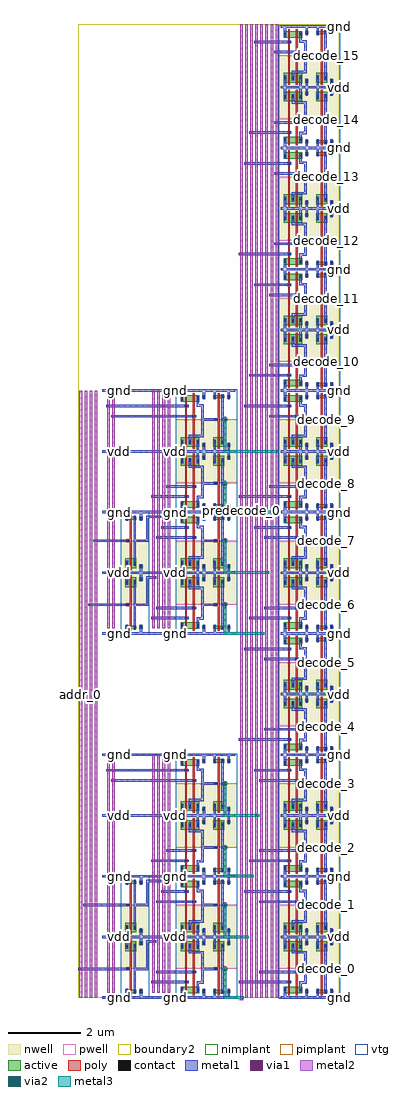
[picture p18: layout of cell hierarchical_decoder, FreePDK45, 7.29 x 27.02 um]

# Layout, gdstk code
import gdstk
lib = gdstk.Library(unit=1e-6, precision=5e-10)
def R(c, l, rs):  # rectangles x0, y0, x1, y1
    for r in rs: c.add(gdstk.rectangle(r[:2], r[2:], *l))
def A(c, l, x, y, w, h, nx, ny, dx, dy):  # array of equal rectangles
    R(c, l, [(x+i*dx, y+j*dy, x+i*dx+w, y+j*dy+h) for i in range(nx) for j in range(ny)])
active = (1, 0)
pwell = (2, 0)
nwell = (3, 0)
nimplant = (4, 0)
pimplant = (5, 0)
vtg = (6, 0)
poly = (9, 0)
contact = (10, 0)
metal1 = (11, 0)
via1 = (12, 0)
metal2 = (13, 0)
via2 = (14, 0)
metal3 = (15, 0)
boundary2 = (239, 0)

contact_10 = lib.new_cell('contact_10')
R(contact_10, active, [(0,0.0225,0.09,0.1125)])
R(contact_10, nwell, [(-0.055,-0.0325,0.145,0.1675)])
R(contact_10, pimplant, [(0,0.0225,0.09,0.1125)])
R(contact_10, contact, [(0.0125,0.035,0.0775,0.1)])
R(contact_10, metal1, [(0.0125,0,0.0775,0.135)])
R(contact_10, boundary2, [(-0.055,-0.0325,0.145,0.1675)])

pmos_m1_w0_270_sm1_dm1_d = lib.new_cell('pmos_m1_w0_270_sm1_dm1_da_p')
R(pmos_m1_w0_270_sm1_dm1_d, active, [(0,0,0.305,0.27)])
R(pmos_m1_w0_270_sm1_dm1_d, nwell, [(-0.08,-0.08,0.385,0.35)])
R(pmos_m1_w0_270_sm1_dm1_d, pimplant, [(0,0,0.305,0.27)])
R(pmos_m1_w0_270_sm1_dm1_d, vtg, [(-0.08,-0.08,0.385,0.35)])
R(pmos_m1_w0_270_sm1_dm1_d, poly, [(0.1275,-0.055,0.1775,0.325), (0.1275,-0.055,0.1775,0.325)])
R(pmos_m1_w0_270_sm1_dm1_d, metal1, [(0.0125,0.0675,0.0775,0.2025), (0.2275,0.0675,0.2925,0.2025)])
R(pmos_m1_w0_270_sm1_dm1_d, boundary2, [(-0.08,-0.08,0.385,0.35)])
pmos_m1_w0_270_sm1_dm1_d.add(gdstk.Reference(contact_10, (0,0.0675)))
pmos_m1_w0_270_sm1_dm1_d.add(gdstk.Reference(contact_10, (0.215,0.0675)))
pmos_m1_w0_270_sm1_dm1_d.add(gdstk.Label('G', (0.1525,0.135), layer=9, texttype=0))
pmos_m1_w0_270_sm1_dm1_d.add(gdstk.Label('S', (0.045,0.135), layer=11, texttype=0))
pmos_m1_w0_270_sm1_dm1_d.add(gdstk.Label('D', (0.26,0.135), layer=11, texttype=0))

contact_9 = lib.new_cell('contact_9')
R(contact_9, active, [(0,0.0225,0.09,0.1125)])
R(contact_9, pwell, [(-0.055,-0.0325,0.145,0.1675)])
R(contact_9, nimplant, [(0,0.0225,0.09,0.1125)])
R(contact_9, contact, [(0.0125,0.035,0.0775,0.1)])
R(contact_9, metal1, [(0.0125,0,0.0775,0.135)])
R(contact_9, boundary2, [(-0.055,-0.0325,0.145,0.1675)])

nmos_m1_w0_090_sm1_dm1_d = lib.new_cell('nmos_m1_w0_090_sm1_dm1_da_p')
R(nmos_m1_w0_090_sm1_dm1_d, active, [(0,0,0.305,0.09)])
R(nmos_m1_w0_090_sm1_dm1_d, pwell, [(-0.08,-0.08,0.385,0.17)])
R(nmos_m1_w0_090_sm1_dm1_d, nimplant, [(0,0,0.305,0.09)])
R(nmos_m1_w0_090_sm1_dm1_d, vtg, [(-0.08,-0.08,0.385,0.17)])
R(nmos_m1_w0_090_sm1_dm1_d, poly, [(0.1275,-0.055,0.1775,0.145), (0.1275,-0.055,0.1775,0.145)])
R(nmos_m1_w0_090_sm1_dm1_d, metal1, [(0.0125,-0.0225,0.0775,0.1125), (0.2275,-0.0225,0.2925,0.1125)])
R(nmos_m1_w0_090_sm1_dm1_d, boundary2, [(-0.08,-0.08,0.385,0.17)])
nmos_m1_w0_090_sm1_dm1_d.add(gdstk.Reference(contact_9, (0,-0.0225)))
nmos_m1_w0_090_sm1_dm1_d.add(gdstk.Reference(contact_9, (0.215,-0.0225)))
nmos_m1_w0_090_sm1_dm1_d.add(gdstk.Label('G', (0.1525,0.045), layer=9, texttype=0))
nmos_m1_w0_090_sm1_dm1_d.add(gdstk.Label('S', (0.045,0.045), layer=11, texttype=0))
nmos_m1_w0_090_sm1_dm1_d.add(gdstk.Label('D', (0.26,0.045), layer=11, texttype=0))

contact_11 = lib.new_cell('contact_11')
R(contact_11, active, [(0,0.0225,0.09,0.1125)])
R(contact_11, nwell, [(-0.055,-0.0325,0.145,0.1675)])
R(contact_11, nimplant, [(0,0.0225,0.09,0.1125)])
R(contact_11, contact, [(0.0125,0.035,0.0775,0.1)])
R(contact_11, metal1, [(0.0125,0,0.0775,0.135)])
R(contact_11, boundary2, [(-0.055,-0.0325,0.145,0.1675)])

contact_12 = lib.new_cell('contact_12')
R(contact_12, active, [(0,0.0225,0.09,0.1125)])
R(contact_12, pwell, [(-0.055,-0.0325,0.145,0.1675)])
R(contact_12, pimplant, [(0,0.0225,0.09,0.1125)])
R(contact_12, contact, [(0.0125,0.035,0.0775,0.1)])
R(contact_12, metal1, [(0.0125,0,0.0775,0.135)])
R(contact_12, boundary2, [(-0.055,-0.0325,0.145,0.1675)])

contact_13 = lib.new_cell('contact_13')
R(contact_13, poly, [(0.03,0,0.105,0.075)])
R(contact_13, contact, [(0.035,0.005,0.1,0.07)])
R(contact_13, metal1, [(0,0.005,0.135,0.07)])
R(contact_13, boundary2, [(0,0,0.135,0.075)])

pinv = lib.new_cell('pinv')
R(pinv, pwell, [(-0.055,-0.0325,0.7425,0.8075)])
R(pinv, nwell, [(-0.055,0.8075,0.7425,1.715)])
R(pinv, vtg, [(-0.055,-0.0325,0.7425,0.8075), (-0.055,0.8075,0.7425,1.715)])
R(pinv, poly, [(0.2075,0.27,0.2575,1.23), (0.14,0.7575,0.2075,0.8325)])
R(pinv, metal1, [(0,-0.0325,0.6875,0.0325), (0.0925,-0.0325,0.1575,0.1025), (0.4775,0,0.5425,0.17), (0.3075,0.1025,0.3725,1.4875), (0.0725,0.7625,0.2075,0.8275), (0.34,0.7625,0.405,0.8275), (0.0925,1.3525,0.1575,1.7125), (0.4775,1.51,0.5425,1.68), (0,1.6475,0.6875,1.7125)])
R(pinv, boundary2, [(0,0,0.6875,1.68), (0,0,0.6875,1.68)])
pinv.add(gdstk.Reference(pmos_m1_w0_270_sm1_dm1_d, (0.08,1.285)))
pinv.add(gdstk.Reference(nmos_m1_w0_090_sm1_dm1_d, (0.08,0.125)))
pinv.add(gdstk.Reference(contact_11, (0.465,1.4425)))
pinv.add(gdstk.Reference(contact_12, (0.465,0.1025)))
pinv.add(gdstk.Reference(contact_13, (0.0725,0.7575)))
pinv.add(gdstk.Label('A', (0.14,0.795), layer=11, texttype=0))
pinv.add(gdstk.Label('Z', (0.3725,0.795), layer=11, texttype=0))
pinv.add(gdstk.Label('gnd', (0.344,0), layer=11, texttype=0))
pinv.add(gdstk.Label('vdd', (0.344,1.68), layer=11, texttype=0))

pmos_m1_w0_270_sm1_dm1 = lib.new_cell('pmos_m1_w0_270_sm1_dm1')
R(pmos_m1_w0_270_sm1_dm1, active, [(0,0,0.305,0.27)])
R(pmos_m1_w0_270_sm1_dm1, nwell, [(-0.08,-0.08,0.385,0.35)])
R(pmos_m1_w0_270_sm1_dm1, pimplant, [(0,0,0.305,0.27)])
R(pmos_m1_w0_270_sm1_dm1, vtg, [(-0.08,-0.08,0.385,0.35)])
R(pmos_m1_w0_270_sm1_dm1, poly, [(0.1275,-0.055,0.1775,0.325), (0.1275,-0.055,0.1775,0.325)])
R(pmos_m1_w0_270_sm1_dm1, metal1, [(0.0125,0.0675,0.0775,0.2025), (0.2275,0.0675,0.2925,0.2025)])
R(pmos_m1_w0_270_sm1_dm1, boundary2, [(-0.08,-0.08,0.385,0.35)])
pmos_m1_w0_270_sm1_dm1.add(gdstk.Reference(contact_10, (0,0.0675)))
pmos_m1_w0_270_sm1_dm1.add(gdstk.Reference(contact_10, (0.215,0.0675)))
pmos_m1_w0_270_sm1_dm1.add(gdstk.Label('G', (0.1525,0.135), layer=9, texttype=0))
pmos_m1_w0_270_sm1_dm1.add(gdstk.Label('S', (0.045,0.135), layer=11, texttype=0))
pmos_m1_w0_270_sm1_dm1.add(gdstk.Label('D', (0.26,0.135), layer=11, texttype=0))

nmos_m1_w0_180_sm1_dacti = lib.new_cell('nmos_m1_w0_180_sm1_dactive')
R(nmos_m1_w0_180_sm1_dacti, active, [(0,0,0.305,0.18), (0.215,0.045,0.305,0.135)])
R(nmos_m1_w0_180_sm1_dacti, pwell, [(-0.08,-0.08,0.385,0.26)])
R(nmos_m1_w0_180_sm1_dacti, nimplant, [(0,0,0.305,0.18)])
R(nmos_m1_w0_180_sm1_dacti, vtg, [(-0.08,-0.08,0.385,0.26)])
R(nmos_m1_w0_180_sm1_dacti, poly, [(0.1275,-0.055,0.1775,0.235), (0.1275,-0.055,0.1775,0.235)])
R(nmos_m1_w0_180_sm1_dacti, metal1, [(0.0125,0.0225,0.0775,0.1575)])
R(nmos_m1_w0_180_sm1_dacti, boundary2, [(-0.08,-0.08,0.385,0.26)])
nmos_m1_w0_180_sm1_dacti.add(gdstk.Reference(contact_9, (0,0.0225)))
nmos_m1_w0_180_sm1_dacti.add(gdstk.Label('G', (0.1525,0.09), layer=9, texttype=0))
nmos_m1_w0_180_sm1_dacti.add(gdstk.Label('S', (0.045,0.09), layer=11, texttype=0))
nmos_m1_w0_180_sm1_dacti.add(gdstk.Label('D', (0.26,0.09), layer=1, texttype=0))

nmos_m1_w0_180_sactive_d = lib.new_cell('nmos_m1_w0_180_sactive_dm1')
R(nmos_m1_w0_180_sactive_d, active, [(0,0,0.305,0.18), (0,0.045,0.09,0.135)])
R(nmos_m1_w0_180_sactive_d, pwell, [(-0.08,-0.08,0.385,0.26)])
R(nmos_m1_w0_180_sactive_d, nimplant, [(0,0,0.305,0.18)])
R(nmos_m1_w0_180_sactive_d, vtg, [(-0.08,-0.08,0.385,0.26)])
R(nmos_m1_w0_180_sactive_d, poly, [(0.1275,-0.055,0.1775,0.235), (0.1275,-0.055,0.1775,0.235)])
R(nmos_m1_w0_180_sactive_d, metal1, [(0.2275,0.0225,0.2925,0.1575)])
R(nmos_m1_w0_180_sactive_d, boundary2, [(-0.08,-0.08,0.385,0.26)])
nmos_m1_w0_180_sactive_d.add(gdstk.Reference(contact_9, (0.215,0.0225)))
nmos_m1_w0_180_sactive_d.add(gdstk.Label('G', (0.1525,0.09), layer=9, texttype=0))
nmos_m1_w0_180_sactive_d.add(gdstk.Label('S', (0.045,0.09), layer=1, texttype=0))
nmos_m1_w0_180_sactive_d.add(gdstk.Label('D', (0.26,0.09), layer=11, texttype=0))

pnand2 = lib.new_cell('pnand2')
R(pnand2, pwell, [(-0.055,-0.0325,0.9575,0.8075)])
R(pnand2, nwell, [(-0.055,0.8075,0.9575,1.715)])
R(pnand2, vtg, [(-0.055,-0.0325,0.9575,0.8075), (-0.055,0.8075,0.9575,1.715)])
R(pnand2, poly, [(0.2075,0.36,0.2575,1.23), (0.4225,0.36,0.4725,1.23), (0.2075,0.39,0.2325,0.465), (0.4225,0.67,0.4475,0.745)])
R(pnand2, metal1, [(0,-0.0325,0.9025,0.0325), (0.0925,-0.0325,0.1575,0.1475), (0.6925,0,0.7575,0.17), (0.5225,0.2825,0.5875,0.4125), (0.5225,0.38,0.5875,0.445), (0.555,0.38,0.685,0.445), (0.6525,0.38,0.7175,0.445), (0.165,0.395,0.3,0.46), (0.6525,0.4125,0.7175,1.255), (0.38,0.675,0.515,0.74), (0.3075,1.2225,0.3725,1.2875), (0.34,1.2225,0.685,1.2875), (0.6525,1.2225,0.7175,1.2875), (0.3075,1.255,0.3725,1.3525), (0.0925,1.3525,0.1575,1.7125), (0.5225,1.3525,0.5875,1.7125), (0.6925,1.51,0.7575,1.68), (0,1.6475,0.9025,1.7125)])
R(pnand2, boundary2, [(0,0,0.9025,1.68), (0,0,0.9025,1.68)])
pnand2.add(gdstk.Reference(pmos_m1_w0_270_sm1_dm1, (0.08,1.285)))
pnand2.add(gdstk.Reference(pmos_m1_w0_270_sm1_dm1, (0.295,1.285)))
pnand2.add(gdstk.Reference(nmos_m1_w0_180_sm1_dacti, (0.08,0.125)))
pnand2.add(gdstk.Reference(nmos_m1_w0_180_sactive_d, (0.295,0.125)))
pnand2.add(gdstk.Reference(contact_11, (0.68,1.4425)))
pnand2.add(gdstk.Reference(contact_12, (0.68,0.1025)))
pnand2.add(gdstk.Reference(contact_13, (0.165,0.39)))
pnand2.add(gdstk.Reference(contact_13, (0.38,0.67)))
pnand2.add(gdstk.Label('Z', (0.685,1.255), layer=11, texttype=0))
pnand2.add(gdstk.Label('gnd', (0.451,0), layer=11, texttype=0))
pnand2.add(gdstk.Label('vdd', (0.451,1.68), layer=11, texttype=0))
pnand2.add(gdstk.Label('A', (0.2325,0.4275), layer=11, texttype=0))
pnand2.add(gdstk.Label('B', (0.4475,0.7075), layer=11, texttype=0))

and2_dec = lib.new_cell('and2_dec')
R(and2_dec, metal1, [(0,-0.0325,1.59,0.0325), (0.165,0.395,0.3,0.46), (0.38,0.675,0.515,0.74), (0.6525,0.7625,0.7175,0.8275), (0.685,0.7625,1.0425,0.8275), (1.2425,0.7625,1.3075,0.8275), (0.6525,0.795,0.7175,1.255), (0,1.6475,1.59,1.7125)])
R(and2_dec, boundary2, [(0,0,1.59,1.68)])
and2_dec.add(gdstk.Reference(pnand2, (0,0)))
and2_dec.add(gdstk.Reference(pinv, (0.9025,0)))
and2_dec.add(gdstk.Label('Z', (1.275,0.795), layer=11, texttype=0))
and2_dec.add(gdstk.Label('A', (0.2325,0.4275), layer=11, texttype=0))
and2_dec.add(gdstk.Label('B', (0.4475,0.7075), layer=11, texttype=0))
and2_dec.add(gdstk.Label('gnd', (0.795,0), layer=11, texttype=0))
and2_dec.add(gdstk.Label('vdd', (0.795,1.68), layer=11, texttype=0))

contact_14 = lib.new_cell('contact_14')
R(contact_14, metal1, [(0,0.035,0.135,0.1)])
R(contact_14, via1, [(0.035,0.035,0.1,0.1)])
R(contact_14, metal2, [(0.0325,0,0.1025,0.135)])
R(contact_14, boundary2, [(0,0,0.135,0.135)])

contact_16 = lib.new_cell('contact_16')
R(contact_16, metal1, [(0,0.035,0.135,0.1)])
R(contact_16, via1, [(0.035,0.035,0.1,0.1)])
R(contact_16, metal2, [(0.0325,0,0.1025,0.135)])
R(contact_16, boundary2, [(0,0,0.135,0.135)])

contact_17 = lib.new_cell('contact_17')
R(contact_17, metal2, [(0.0325,0,0.1025,0.135)])
R(contact_17, via2, [(0.035,0.035,0.1,0.1)])
R(contact_17, metal3, [(0,0.0325,0.135,0.1025)])
R(contact_17, boundary2, [(0,0,0.135,0.135)])

hierarchical_predecode2x = lib.new_cell('hierarchical_predecode2x4')
R(hierarchical_predecode2x, metal1, [(0,-0.0325,3.6775,0.0325), (1.4225,0.395,2.32,0.46), (2.2875,0.395,2.3525,0.46), (1.5625,0.675,2.535,0.74), (2.5025,0.675,2.5675,0.74), (0.175,0.7625,0.7,0.8275), (0.6675,0.7625,0.7325,0.8275), (0.9325,0.7625,0.9975,0.8275), (0.965,0.7625,1.2475,0.8275), (1.215,0.7625,1.28,0.8275), (3.33,0.7625,3.395,0.8275), (1.215,0.795,1.28,1.55), (1.215,1.5175,1.28,1.5825), (1.2475,1.5175,1.4225,1.5825), (0,1.6475,3.6775,1.7125), (0,1.6475,3.6775,1.7125), (0.315,2.5325,0.7,2.5975), (0.6675,2.5325,0.7325,2.5975), (0.9325,2.5325,0.9975,2.5975), (0.965,2.5325,1.2475,2.5975), (1.215,2.5325,1.28,2.5975), (3.33,2.5325,3.395,2.5975), (1.215,2.565,1.28,3.23), (1.5625,2.62,2.535,2.685), (2.5025,2.62,2.5675,2.685), (1.7025,2.9,2.32,2.965), (2.2875,2.9,2.3525,2.965), (1.215,3.1975,1.28,3.2625), (1.2475,3.1975,1.5625,3.2625), (0,3.3275,3.6775,3.3925), (0,3.3275,3.6775,3.3925), (1.4225,3.755,2.32,3.82), (2.2875,3.755,2.3525,3.82), (1.8425,4.035,2.535,4.1), (2.5025,4.035,2.5675,4.1), (3.33,4.1225,3.395,4.1875), (0,5.0075,3.6775,5.0725), (0,5.0075,3.6775,5.0725), (3.33,5.8925,3.395,5.9575), (0.315,5.98,1.8425,6.045), (1.8425,5.98,2.535,6.045), (2.5025,5.98,2.5675,6.045), (0.175,6.26,1.7025,6.325), (1.7025,6.26,2.32,6.325), (2.2875,6.26,2.3525,6.325), (0,6.6875,3.6775,6.7525)])
A(hierarchical_predecode2x, metal2, 1.3875, 0.14, 0.07, 6.58, 4, 1, 0.14, 0)
R(hierarchical_predecode2x, metal2, [(0.14,0.14,0.21,6.72), (0.28,0.14,0.35,6.72), (0.14,0.7275,0.21,0.8625), (0.28,2.4975,0.35,2.6325)])
A(hierarchical_predecode2x, metal3, 0.4225, 1.6125, 0.135, 0.135, 1, 3, 0, 1.68)
A(hierarchical_predecode2x, metal3, 1.95, 1.6125, 0.135, 0.135, 1, 3, 0, 1.68)
R(hierarchical_predecode2x, metal3, [(0.4225,-0.0675,0.5575,0.0675), (1.95,-0.0675,2.085,0.0675), (0.4225,1.6125,0.5575,1.7475), (1.95,1.6125,2.085,1.7475), (0.4225,4.9725,0.5575,5.1075), (1.95,4.9725,2.085,5.1075), (0.4225,6.6525,0.5575,6.7875), (1.95,6.6525,2.085,6.7875)])
R(hierarchical_predecode2x, boundary2, [(0,0,3.6775,6.72)])
hierarchical_predecode2x.add(gdstk.Reference(pinv, (0.56,0)))
hierarchical_predecode2x.add(gdstk.Reference(pinv, (0.56,3.36), x_reflection=True))
hierarchical_predecode2x.add(gdstk.Reference(and2_dec, (2.0875,0)))
hierarchical_predecode2x.add(gdstk.Reference(and2_dec, (2.0875,3.36), x_reflection=True))
hierarchical_predecode2x.add(gdstk.Reference(and2_dec, (2.0875,3.36)))
hierarchical_predecode2x.add(gdstk.Reference(and2_dec, (2.0875,6.72), x_reflection=True))
hierarchical_predecode2x.add(gdstk.Reference(contact_14, (0.1075,0.7275)))
hierarchical_predecode2x.add(gdstk.Reference(contact_14, (0.2475,2.4975)))
hierarchical_predecode2x.add(gdstk.Reference(contact_14, (1.355,0.36)))
hierarchical_predecode2x.add(gdstk.Reference(contact_14, (1.495,0.64)))
hierarchical_predecode2x.add(gdstk.Reference(contact_14, (1.635,2.865)))
hierarchical_predecode2x.add(gdstk.Reference(contact_14, (1.495,2.585)))
hierarchical_predecode2x.add(gdstk.Reference(contact_14, (1.355,3.72)))
hierarchical_predecode2x.add(gdstk.Reference(contact_14, (1.775,4)))
hierarchical_predecode2x.add(gdstk.Reference(contact_14, (1.635,6.225)))
hierarchical_predecode2x.add(gdstk.Reference(contact_14, (1.775,5.945)))
hierarchical_predecode2x.add(gdstk.Reference(contact_14, (1.355,1.4825)))
hierarchical_predecode2x.add(gdstk.Reference(contact_14, (1.495,3.1625)))
hierarchical_predecode2x.add(gdstk.Reference(contact_16, (0.1075,6.225)))
hierarchical_predecode2x.add(gdstk.Reference(contact_16, (1.635,6.225)))
hierarchical_predecode2x.add(gdstk.Reference(contact_16, (0.2475,5.945)))
hierarchical_predecode2x.add(gdstk.Reference(contact_16, (1.775,5.945)))
hierarchical_predecode2x.add(gdstk.Reference(contact_16, (0.4225,1.6125)))
hierarchical_predecode2x.add(gdstk.Reference(contact_17, (0.4225,1.6125)))
hierarchical_predecode2x.add(gdstk.Reference(contact_16, (1.95,1.6125)))
hierarchical_predecode2x.add(gdstk.Reference(contact_17, (1.95,1.6125)))
hierarchical_predecode2x.add(gdstk.Reference(contact_16, (0.4225,-0.0675)))
hierarchical_predecode2x.add(gdstk.Reference(contact_17, (0.4225,-0.0675)))
hierarchical_predecode2x.add(gdstk.Reference(contact_16, (1.95,-0.0675)))
hierarchical_predecode2x.add(gdstk.Reference(contact_17, (1.95,-0.0675)))
hierarchical_predecode2x.add(gdstk.Reference(contact_16, (0.4225,1.6125)))
hierarchical_predecode2x.add(gdstk.Reference(contact_17, (0.4225,1.6125)))
hierarchical_predecode2x.add(gdstk.Reference(contact_16, (1.95,1.6125)))
hierarchical_predecode2x.add(gdstk.Reference(contact_17, (1.95,1.6125)))
hierarchical_predecode2x.add(gdstk.Reference(contact_16, (0.4225,3.2925)))
hierarchical_predecode2x.add(gdstk.Reference(contact_17, (0.4225,3.2925)))
hierarchical_predecode2x.add(gdstk.Reference(contact_16, (1.95,3.2925)))
hierarchical_predecode2x.add(gdstk.Reference(contact_17, (1.95,3.2925)))
hierarchical_predecode2x.add(gdstk.Reference(contact_16, (0.4225,4.9725)))
hierarchical_predecode2x.add(gdstk.Reference(contact_17, (0.4225,4.9725)))
hierarchical_predecode2x.add(gdstk.Reference(contact_16, (1.95,4.9725)))
hierarchical_predecode2x.add(gdstk.Reference(contact_17, (1.95,4.9725)))
hierarchical_predecode2x.add(gdstk.Reference(contact_16, (0.4225,3.2925)))
hierarchical_predecode2x.add(gdstk.Reference(contact_17, (0.4225,3.2925)))
hierarchical_predecode2x.add(gdstk.Reference(contact_16, (1.95,3.2925)))
hierarchical_predecode2x.add(gdstk.Reference(contact_17, (1.95,3.2925)))
hierarchical_predecode2x.add(gdstk.Reference(contact_16, (0.4225,4.9725)))
hierarchical_predecode2x.add(gdstk.Reference(contact_17, (0.4225,4.9725)))
hierarchical_predecode2x.add(gdstk.Reference(contact_16, (1.95,4.9725)))
hierarchical_predecode2x.add(gdstk.Reference(contact_17, (1.95,4.9725)))
hierarchical_predecode2x.add(gdstk.Reference(contact_16, (0.4225,6.6525)))
hierarchical_predecode2x.add(gdstk.Reference(contact_17, (0.4225,6.6525)))
hierarchical_predecode2x.add(gdstk.Reference(contact_16, (1.95,6.6525)))
hierarchical_predecode2x.add(gdstk.Reference(contact_17, (1.95,6.6525)))
hierarchical_predecode2x.add(gdstk.Label('in_0', (0.175,0.795), layer=13, texttype=0))
hierarchical_predecode2x.add(gdstk.Label('in_1', (0.315,2.565), layer=13, texttype=0))
hierarchical_predecode2x.add(gdstk.Label('out_0', (3.3625,0.795), layer=11, texttype=0))
hierarchical_predecode2x.add(gdstk.Label('out_1', (3.3625,2.565), layer=11, texttype=0))
hierarchical_predecode2x.add(gdstk.Label('out_2', (3.3625,4.155), layer=11, texttype=0))
hierarchical_predecode2x.add(gdstk.Label('out_3', (3.3625,5.925), layer=11, texttype=0))
hierarchical_predecode2x.add(gdstk.Label('vdd', (0.49,1.68), layer=15, texttype=0))
hierarchical_predecode2x.add(gdstk.Label('vdd', (2.0175,1.68), layer=15, texttype=0))
hierarchical_predecode2x.add(gdstk.Label('vdd', (2.0175,1.68), layer=15, texttype=0))
hierarchical_predecode2x.add(gdstk.Label('vdd', (0.49,5.04), layer=15, texttype=0))
hierarchical_predecode2x.add(gdstk.Label('vdd', (0.49,5.04), layer=15, texttype=0))
hierarchical_predecode2x.add(gdstk.Label('vdd', (2.0175,5.04), layer=15, texttype=0))
hierarchical_predecode2x.add(gdstk.Label('vdd', (2.0175,5.04), layer=15, texttype=0))
hierarchical_predecode2x.add(gdstk.Label('vdd', (0.49,1.68), layer=15, texttype=0))
hierarchical_predecode2x.add(gdstk.Label('gnd', (0.49,6.72), layer=15, texttype=0))
hierarchical_predecode2x.add(gdstk.Label('gnd', (0.49,0), layer=15, texttype=0))
hierarchical_predecode2x.add(gdstk.Label('gnd', (2.0175,0), layer=15, texttype=0))
hierarchical_predecode2x.add(gdstk.Label('gnd', (2.0175,6.72), layer=15, texttype=0))
hierarchical_predecode2x.add(gdstk.Label('gnd', (0.49,3.36), layer=15, texttype=0))
hierarchical_predecode2x.add(gdstk.Label('gnd', (2.0175,3.36), layer=15, texttype=0))

contact_19 = lib.new_cell('contact_19')
R(contact_19, metal2, [(0.0325,0,0.1025,0.135)])
R(contact_19, via2, [(0.035,0.035,0.1,0.1)])
R(contact_19, metal3, [(0,0.0325,0.135,0.1025)])
R(contact_19, boundary2, [(0,0,0.135,0.135)])

hierarchical_decoder = lib.new_cell('hierarchical_decoder')
A(hierarchical_decoder, metal1, 4.515, 0.395, 1.3175, 0.065, 1, 4, 0, 6.72)
A(hierarchical_decoder, metal1, 4.655, 2.9, 1.1775, 0.065, 1, 4, 0, 6.72)
A(hierarchical_decoder, metal1, 4.795, 3.755, 1.0375, 0.065, 1, 4, 0, 6.72)
A(hierarchical_decoder, metal1, 4.935, 6.26, 0.8975, 0.065, 1, 4, 0, 6.72)
R(hierarchical_decoder, metal1, [(5.8,0.395,5.865,0.46), (5.075,0.675,6.0475,0.74), (6.015,0.675,6.08,0.74), (0.0675,0.7625,0.8375,0.8275), (6.8425,0.7625,6.9075,0.8275), (0.2075,2.5325,0.9775,2.5975), (6.8425,2.5325,6.9075,2.5975), (5.075,2.62,6.0475,2.685), (6.015,2.62,6.08,2.685), (5.8,2.9,5.865,2.965), (5.8,3.755,5.865,3.82), (5.075,4.035,6.0475,4.1), (6.015,4.035,6.08,4.1), (6.8425,4.1225,6.9075,4.1875), (6.8425,5.8925,6.9075,5.9575), (5.075,5.98,6.0475,6.045), (6.015,5.98,6.08,6.045), (5.8,6.26,5.865,6.325), (5.8,7.115,5.865,7.18), (5.215,7.395,6.0475,7.46), (6.015,7.395,6.08,7.46), (6.8425,7.4825,6.9075,7.5475), (6.8425,9.2525,6.9075,9.3175), (5.215,9.34,6.0475,9.405), (6.015,9.34,6.08,9.405), (5.8,9.62,5.865,9.685), (5.8,10.475,5.865,10.54), (5.215,10.755,6.0475,10.82), (6.015,10.755,6.08,10.82), (0.3475,10.8425,0.8375,10.9075), (6.8425,10.8425,6.9075,10.9075), (0.4875,12.6125,0.9775,12.6775), (6.8425,12.6125,6.9075,12.6775), (5.215,12.7,6.0475,12.765), (6.015,12.7,6.08,12.765), (5.8,12.98,5.865,13.045), (5.8,13.835,5.865,13.9), (5.355,14.115,6.0475,14.18), (6.015,14.115,6.08,14.18), (6.8425,14.2025,6.9075,14.2675), (6.8425,15.9725,6.9075,16.0375), (5.355,16.06,6.0475,16.125), (6.015,16.06,6.08,16.125), (5.8,16.34,5.865,16.405), (5.8,17.195,5.865,17.26), (5.355,17.475,6.0475,17.54), (6.015,17.475,6.08,17.54), (6.8425,17.5625,6.9075,17.6275), (6.8425,19.3325,6.9075,19.3975), (5.355,19.42,6.0475,19.485), (6.015,19.42,6.08,19.485), (5.8,19.7,5.865,19.765), (5.8,20.555,5.865,20.62), (5.495,20.835,6.0475,20.9), (6.015,20.835,6.08,20.9), (6.8425,20.9225,6.9075,20.9875), (6.8425,22.6925,6.9075,22.7575), (5.495,22.78,6.0475,22.845), (6.015,22.78,6.08,22.845), (5.8,23.06,5.865,23.125), (5.8,23.915,5.865,23.98), (5.495,24.195,6.0475,24.26), (6.015,24.195,6.08,24.26), (6.8425,24.2825,6.9075,24.3475), (6.8425,26.0525,6.9075,26.1175), (5.495,26.14,6.0475,26.205), (6.015,26.14,6.08,26.205), (5.8,26.42,5.865,26.485)])
A(hierarchical_decoder, metal2, 0.0325, 0, 0.07, 16.8, 4, 1, 0.14, 0)
A(hierarchical_decoder, metal2, 4.48, 0, 0.07, 26.95, 8, 1, 0.14, 0)
A(hierarchical_decoder, metal3, 1.085, -0.0675, 0.135, 0.135, 1, 5, 0, 1.68)
A(hierarchical_decoder, metal3, 2.6125, -0.0675, 0.135, 0.135, 1, 5, 0, 1.68)
A(hierarchical_decoder, metal3, 4.0225, -0.035, 0.07, 0.07, 1, 4, 0, 1.68)
A(hierarchical_decoder, metal3, 7.155, 1.6125, 0.135, 0.135, 1, 3, 0, 1.68)
A(hierarchical_decoder, metal3, 7.155, 4.9725, 0.135, 0.135, 1, 3, 0, 1.68)
A(hierarchical_decoder, metal3, 7.155, 8.3325, 0.135, 0.135, 1, 5, 0, 1.68)
A(hierarchical_decoder, metal3, 1.085, 10.0125, 0.135, 0.135, 1, 5, 0, 1.68)
A(hierarchical_decoder, metal3, 2.6125, 10.0125, 0.135, 0.135, 1, 5, 0, 1.68)
A(hierarchical_decoder, metal3, 4.0225, 10.045, 0.07, 0.07, 1, 4, 0, 1.68)
A(hierarchical_decoder, metal3, 7.155, 15.0525, 0.135, 0.135, 1, 8, 0, 1.68)
R(hierarchical_decoder, metal3, [(7.155,-0.0675,7.29,0.0675), (4.0575,-0.035,4.515,0.035), (4.0225,0,4.0925,0.795), (7.155,1.6125,7.29,1.7475), (4.0575,1.645,4.655,1.715), (4.0225,1.68,4.0925,2.565), (4.0575,3.325,4.795,3.395), (4.0225,3.36,4.0925,4.155), (4.0575,5.005,4.935,5.075), (4.0225,5.04,4.0925,5.925), (4.0575,10.045,5.075,10.115), (4.0225,10.08,4.0925,10.875), (4.0575,11.725,5.215,11.795), (4.0225,11.76,4.0925,12.645), (4.0575,13.405,5.355,13.475), (4.0225,13.44,4.0925,14.235), (4.0575,15.085,5.495,15.155), (4.0225,15.12,4.0925,16.005)])
R(hierarchical_decoder, boundary2, [(0,0,7.2225,26.95)])
hierarchical_decoder.add(gdstk.Reference(hierarchical_predecode2x, (0.6625,0)))
hierarchical_decoder.add(gdstk.Reference(hierarchical_predecode2x, (0.6625,10.08)))
hierarchical_decoder.add(gdstk.Reference(and2_dec, (5.6,0)))
hierarchical_decoder.add(gdstk.Reference(and2_dec, (5.6,3.36), x_reflection=True))
hierarchical_decoder.add(gdstk.Reference(and2_dec, (5.6,3.36)))
hierarchical_decoder.add(gdstk.Reference(and2_dec, (5.6,6.72), x_reflection=True))
hierarchical_decoder.add(gdstk.Reference(and2_dec, (5.6,6.72)))
hierarchical_decoder.add(gdstk.Reference(and2_dec, (5.6,10.08), x_reflection=True))
hierarchical_decoder.add(gdstk.Reference(and2_dec, (5.6,10.08)))
hierarchical_decoder.add(gdstk.Reference(and2_dec, (5.6,13.44), x_reflection=True))
hierarchical_decoder.add(gdstk.Reference(and2_dec, (5.6,13.44)))
hierarchical_decoder.add(gdstk.Reference(and2_dec, (5.6,16.8), x_reflection=True))
hierarchical_decoder.add(gdstk.Reference(and2_dec, (5.6,16.8)))
hierarchical_decoder.add(gdstk.Reference(and2_dec, (5.6,20.16), x_reflection=True))
hierarchical_decoder.add(gdstk.Reference(and2_dec, (5.6,20.16)))
hierarchical_decoder.add(gdstk.Reference(and2_dec, (5.6,23.52), x_reflection=True))
hierarchical_decoder.add(gdstk.Reference(and2_dec, (5.6,23.52)))
hierarchical_decoder.add(gdstk.Reference(and2_dec, (5.6,26.88), x_reflection=True))
hierarchical_decoder.add(gdstk.Reference(contact_16, (0.77,0.7275)))
hierarchical_decoder.add(gdstk.Reference(contact_14, (0,0.7275)))
hierarchical_decoder.add(gdstk.Reference(contact_16, (0.91,2.4975)))
hierarchical_decoder.add(gdstk.Reference(contact_14, (0.14,2.4975)))
hierarchical_decoder.add(gdstk.Reference(contact_16, (0.77,10.8075)))
hierarchical_decoder.add(gdstk.Reference(contact_14, (0.28,10.8075)))
hierarchical_decoder.add(gdstk.Reference(contact_16, (0.91,12.5775)))
hierarchical_decoder.add(gdstk.Reference(contact_14, (0.42,12.5775)))
hierarchical_decoder.add(gdstk.Reference(contact_14, (4.4475,0.36)))
hierarchical_decoder.add(gdstk.Reference(contact_14, (5.0075,0.64)))
hierarchical_decoder.add(gdstk.Reference(contact_14, (4.5875,2.865)))
hierarchical_decoder.add(gdstk.Reference(contact_14, (5.0075,2.585)))
hierarchical_decoder.add(gdstk.Reference(contact_14, (4.7275,3.72)))
hierarchical_decoder.add(gdstk.Reference(contact_14, (5.0075,4)))
hierarchical_decoder.add(gdstk.Reference(contact_14, (4.8675,6.225)))
hierarchical_decoder.add(gdstk.Reference(contact_14, (5.0075,5.945)))
hierarchical_decoder.add(gdstk.Reference(contact_14, (4.4475,7.08)))
hierarchical_decoder.add(gdstk.Reference(contact_14, (5.1475,7.36)))
hierarchical_decoder.add(gdstk.Reference(contact_14, (4.5875,9.585)))
hierarchical_decoder.add(gdstk.Reference(contact_14, (5.1475,9.305)))
hierarchical_decoder.add(gdstk.Reference(contact_14, (4.7275,10.44)))
hierarchical_decoder.add(gdstk.Reference(contact_14, (5.1475,10.72)))
hierarchical_decoder.add(gdstk.Reference(contact_14, (4.8675,12.945)))
hierarchical_decoder.add(gdstk.Reference(contact_14, (5.1475,12.665)))
hierarchical_decoder.add(gdstk.Reference(contact_14, (4.4475,13.8)))
hierarchical_decoder.add(gdstk.Reference(contact_14, (5.2875,14.08)))
hierarchical_decoder.add(gdstk.Reference(contact_14, (4.5875,16.305)))
hierarchical_decoder.add(gdstk.Reference(contact_14, (5.2875,16.025)))
hierarchical_decoder.add(gdstk.Reference(contact_14, (4.7275,17.16)))
hierarchical_decoder.add(gdstk.Reference(contact_14, (5.2875,17.44)))
hierarchical_decoder.add(gdstk.Reference(contact_14, (4.8675,19.665)))
hierarchical_decoder.add(gdstk.Reference(contact_14, (5.2875,19.385)))
hierarchical_decoder.add(gdstk.Reference(contact_14, (4.4475,20.52)))
hierarchical_decoder.add(gdstk.Reference(contact_14, (5.4275,20.8)))
hierarchical_decoder.add(gdstk.Reference(contact_14, (4.5875,23.025)))
hierarchical_decoder.add(gdstk.Reference(contact_14, (5.4275,22.745)))
hierarchical_decoder.add(gdstk.Reference(contact_14, (4.7275,23.88)))
hierarchical_decoder.add(gdstk.Reference(contact_14, (5.4275,24.16)))
hierarchical_decoder.add(gdstk.Reference(contact_14, (4.8675,26.385)))
hierarchical_decoder.add(gdstk.Reference(contact_14, (5.4275,26.105)))
hierarchical_decoder.add(gdstk.Reference(contact_16, (3.99,0.7275)))
hierarchical_decoder.add(gdstk.Reference(contact_17, (3.99,0.7275)))
hierarchical_decoder.add(gdstk.Reference(contact_19, (4.4475,-0.0675)))
hierarchical_decoder.add(gdstk.Reference(contact_16, (3.99,2.4975)))
hierarchical_decoder.add(gdstk.Reference(contact_17, (3.99,2.4975)))
hierarchical_decoder.add(gdstk.Reference(contact_19, (4.5875,1.6125)))
hierarchical_decoder.add(gdstk.Reference(contact_16, (3.99,4.0875)))
hierarchical_decoder.add(gdstk.Reference(contact_17, (3.99,4.0875)))
hierarchical_decoder.add(gdstk.Reference(contact_19, (4.7275,3.2925)))
hierarchical_decoder.add(gdstk.Reference(contact_16, (3.99,5.8575)))
hierarchical_decoder.add(gdstk.Reference(contact_17, (3.99,5.8575)))
hierarchical_decoder.add(gdstk.Reference(contact_19, (4.8675,4.9725)))
hierarchical_decoder.add(gdstk.Reference(contact_16, (3.99,10.8075)))
hierarchical_decoder.add(gdstk.Reference(contact_17, (3.99,10.8075)))
hierarchical_decoder.add(gdstk.Reference(contact_19, (5.0075,10.0125)))
hierarchical_decoder.add(gdstk.Reference(contact_16, (3.99,12.5775)))
hierarchical_decoder.add(gdstk.Reference(contact_17, (3.99,12.5775)))
hierarchical_decoder.add(gdstk.Reference(contact_19, (5.1475,11.6925)))
hierarchical_decoder.add(gdstk.Reference(contact_16, (3.99,14.1675)))
hierarchical_decoder.add(gdstk.Reference(contact_17, (3.99,14.1675)))
hierarchical_decoder.add(gdstk.Reference(contact_19, (5.2875,13.3725)))
hierarchical_decoder.add(gdstk.Reference(contact_16, (3.99,15.9375)))
hierarchical_decoder.add(gdstk.Reference(contact_17, (3.99,15.9375)))
hierarchical_decoder.add(gdstk.Reference(contact_19, (5.4275,15.0525)))
hierarchical_decoder.add(gdstk.Reference(contact_16, (7.155,1.6125)))
hierarchical_decoder.add(gdstk.Reference(contact_17, (7.155,1.6125)))
hierarchical_decoder.add(gdstk.Reference(contact_16, (7.155,-0.0675)))
hierarchical_decoder.add(gdstk.Reference(contact_17, (7.155,-0.0675)))
hierarchical_decoder.add(gdstk.Reference(contact_16, (7.155,1.6125)))
hierarchical_decoder.add(gdstk.Reference(contact_17, (7.155,1.6125)))
hierarchical_decoder.add(gdstk.Reference(contact_16, (7.155,3.2925)))
hierarchical_decoder.add(gdstk.Reference(contact_17, (7.155,3.2925)))
hierarchical_decoder.add(gdstk.Reference(contact_16, (7.155,4.9725)))
hierarchical_decoder.add(gdstk.Reference(contact_17, (7.155,4.9725)))
hierarchical_decoder.add(gdstk.Reference(contact_16, (7.155,3.2925)))
hierarchical_decoder.add(gdstk.Reference(contact_17, (7.155,3.2925)))
hierarchical_decoder.add(gdstk.Reference(contact_16, (7.155,4.9725)))
hierarchical_decoder.add(gdstk.Reference(contact_17, (7.155,4.9725)))
hierarchical_decoder.add(gdstk.Reference(contact_16, (7.155,6.6525)))
hierarchical_decoder.add(gdstk.Reference(contact_17, (7.155,6.6525)))
hierarchical_decoder.add(gdstk.Reference(contact_16, (7.155,8.3325)))
hierarchical_decoder.add(gdstk.Reference(contact_17, (7.155,8.3325)))
hierarchical_decoder.add(gdstk.Reference(contact_16, (7.155,6.6525)))
hierarchical_decoder.add(gdstk.Reference(contact_17, (7.155,6.6525)))
hierarchical_decoder.add(gdstk.Reference(contact_16, (7.155,8.3325)))
hierarchical_decoder.add(gdstk.Reference(contact_17, (7.155,8.3325)))
hierarchical_decoder.add(gdstk.Reference(contact_16, (7.155,10.0125)))
hierarchical_decoder.add(gdstk.Reference(contact_17, (7.155,10.0125)))
hierarchical_decoder.add(gdstk.Reference(contact_16, (7.155,11.6925)))
hierarchical_decoder.add(gdstk.Reference(contact_17, (7.155,11.6925)))
hierarchical_decoder.add(gdstk.Reference(contact_16, (7.155,10.0125)))
hierarchical_decoder.add(gdstk.Reference(contact_17, (7.155,10.0125)))
hierarchical_decoder.add(gdstk.Reference(contact_16, (7.155,11.6925)))
hierarchical_decoder.add(gdstk.Reference(contact_17, (7.155,11.6925)))
hierarchical_decoder.add(gdstk.Reference(contact_16, (7.155,13.3725)))
hierarchical_decoder.add(gdstk.Reference(contact_17, (7.155,13.3725)))
hierarchical_decoder.add(gdstk.Reference(contact_16, (7.155,15.0525)))
hierarchical_decoder.add(gdstk.Reference(contact_17, (7.155,15.0525)))
hierarchical_decoder.add(gdstk.Reference(contact_16, (7.155,13.3725)))
hierarchical_decoder.add(gdstk.Reference(contact_17, (7.155,13.3725)))
hierarchical_decoder.add(gdstk.Reference(contact_16, (7.155,15.0525)))
hierarchical_decoder.add(gdstk.Reference(contact_17, (7.155,15.0525)))
hierarchical_decoder.add(gdstk.Reference(contact_16, (7.155,16.7325)))
hierarchical_decoder.add(gdstk.Reference(contact_17, (7.155,16.7325)))
hierarchical_decoder.add(gdstk.Reference(contact_16, (7.155,18.4125)))
hierarchical_decoder.add(gdstk.Reference(contact_17, (7.155,18.4125)))
hierarchical_decoder.add(gdstk.Reference(contact_16, (7.155,16.7325)))
hierarchical_decoder.add(gdstk.Reference(contact_17, (7.155,16.7325)))
hierarchical_decoder.add(gdstk.Reference(contact_16, (7.155,18.4125)))
hierarchical_decoder.add(gdstk.Reference(contact_17, (7.155,18.4125)))
hierarchical_decoder.add(gdstk.Reference(contact_16, (7.155,20.0925)))
hierarchical_decoder.add(gdstk.Reference(contact_17, (7.155,20.0925)))
hierarchical_decoder.add(gdstk.Reference(contact_16, (7.155,21.7725)))
hierarchical_decoder.add(gdstk.Reference(contact_17, (7.155,21.7725)))
hierarchical_decoder.add(gdstk.Reference(contact_16, (7.155,20.0925)))
hierarchical_decoder.add(gdstk.Reference(contact_17, (7.155,20.0925)))
hierarchical_decoder.add(gdstk.Reference(contact_16, (7.155,21.7725)))
hierarchical_decoder.add(gdstk.Reference(contact_17, (7.155,21.7725)))
hierarchical_decoder.add(gdstk.Reference(contact_16, (7.155,23.4525)))
hierarchical_decoder.add(gdstk.Reference(contact_17, (7.155,23.4525)))
hierarchical_decoder.add(gdstk.Reference(contact_16, (7.155,25.1325)))
hierarchical_decoder.add(gdstk.Reference(contact_17, (7.155,25.1325)))
hierarchical_decoder.add(gdstk.Reference(contact_16, (7.155,23.4525)))
hierarchical_decoder.add(gdstk.Reference(contact_17, (7.155,23.4525)))
hierarchical_decoder.add(gdstk.Reference(contact_16, (7.155,25.1325)))
hierarchical_decoder.add(gdstk.Reference(contact_17, (7.155,25.1325)))
hierarchical_decoder.add(gdstk.Reference(contact_16, (7.155,26.8125)))
hierarchical_decoder.add(gdstk.Reference(contact_17, (7.155,26.8125)))
hierarchical_decoder.add(gdstk.Label('addr_0', (0.0675,8.4), layer=13, texttype=0))
hierarchical_decoder.add(gdstk.Label('addr_1', (0.2075,8.4), layer=13, texttype=0))
hierarchical_decoder.add(gdstk.Label('addr_2', (0.3475,8.4), layer=13, texttype=0))
hierarchical_decoder.add(gdstk.Label('addr_3', (0.4875,8.4), layer=13, texttype=0))
hierarchical_decoder.add(gdstk.Label('decode_0', (6.875,0.795), layer=11, texttype=0))
hierarchical_decoder.add(gdstk.Label('decode_1', (6.875,2.565), layer=11, texttype=0))
hierarchical_decoder.add(gdstk.Label('decode_2', (6.875,4.155), layer=11, texttype=0))
hierarchical_decoder.add(gdstk.Label('decode_3', (6.875,5.925), layer=11, texttype=0))
hierarchical_decoder.add(gdstk.Label('decode_4', (6.875,7.515), layer=11, texttype=0))
hierarchical_decoder.add(gdstk.Label('decode_5', (6.875,9.285), layer=11, texttype=0))
hierarchical_decoder.add(gdstk.Label('decode_6', (6.875,10.875), layer=11, texttype=0))
hierarchical_decoder.add(gdstk.Label('decode_7', (6.875,12.645), layer=11, texttype=0))
hierarchical_decoder.add(gdstk.Label('decode_8', (6.875,14.235), layer=11, texttype=0))
hierarchical_decoder.add(gdstk.Label('decode_9', (6.875,16.005), layer=11, texttype=0))
hierarchical_decoder.add(gdstk.Label('decode_10', (6.875,17.595), layer=11, texttype=0))
hierarchical_decoder.add(gdstk.Label('decode_11', (6.875,19.365), layer=11, texttype=0))
hierarchical_decoder.add(gdstk.Label('decode_12', (6.875,20.955), layer=11, texttype=0))
hierarchical_decoder.add(gdstk.Label('decode_13', (6.875,22.725), layer=11, texttype=0))
hierarchical_decoder.add(gdstk.Label('decode_14', (6.875,24.315), layer=11, texttype=0))
hierarchical_decoder.add(gdstk.Label('decode_15', (6.875,26.085), layer=11, texttype=0))
hierarchical_decoder.add(gdstk.Label('predecode_0', (4.515,13.475), layer=13, texttype=0))
hierarchical_decoder.add(gdstk.Label('predecode_1', (4.655,13.475), layer=13, texttype=0))
hierarchical_decoder.add(gdstk.Label('predecode_2', (4.795,13.475), layer=13, texttype=0))
hierarchical_decoder.add(gdstk.Label('predecode_3', (4.935,13.475), layer=13, texttype=0))
hierarchical_decoder.add(gdstk.Label('predecode_4', (5.075,13.475), layer=13, texttype=0))
hierarchical_decoder.add(gdstk.Label('predecode_5', (5.215,13.475), layer=13, texttype=0))
hierarchical_decoder.add(gdstk.Label('predecode_6', (5.355,13.475), layer=13, texttype=0))
hierarchical_decoder.add(gdstk.Label('predecode_7', (5.495,13.475), layer=13, texttype=0))
hierarchical_decoder.add(gdstk.Label('vdd', (2.68,5.04), layer=15, texttype=0))
hierarchical_decoder.add(gdstk.Label('vdd', (1.1525,1.68), layer=15, texttype=0))
hierarchical_decoder.add(gdstk.Label('vdd', (1.1525,11.76), layer=15, texttype=0))
hierarchical_decoder.add(gdstk.Label('vdd', (7.2225,21.84), layer=15, texttype=0))
hierarchical_decoder.add(gdstk.Label('vdd', (7.2225,5.04), layer=15, texttype=0))
hierarchical_decoder.add(gdstk.Label('vdd', (7.2225,5.04), layer=15, texttype=0))
hierarchical_decoder.add(gdstk.Label('vdd', (7.2225,15.12), layer=15, texttype=0))
hierarchical_decoder.add(gdstk.Label('vdd', (7.2225,15.12), layer=15, texttype=0))
hierarchical_decoder.add(gdstk.Label('vdd', (7.2225,1.68), layer=15, texttype=0))
hierarchical_decoder.add(gdstk.Label('vdd', (7.2225,1.68), layer=15, texttype=0))
hierarchical_decoder.add(gdstk.Label('vdd', (7.2225,8.4), layer=15, texttype=0))
hierarchical_decoder.add(gdstk.Label('vdd', (7.2225,8.4), layer=15, texttype=0))
hierarchical_decoder.add(gdstk.Label('vdd', (7.2225,18.48), layer=15, texttype=0))
hierarchical_decoder.add(gdstk.Label('vdd', (1.1525,5.04), layer=15, texttype=0))
hierarchical_decoder.add(gdstk.Label('vdd', (2.68,1.68), layer=15, texttype=0))
hierarchical_decoder.add(gdstk.Label('vdd', (1.1525,15.12), layer=15, texttype=0))
hierarchical_decoder.add(gdstk.Label('vdd', (7.2225,25.2), layer=15, texttype=0))
hierarchical_decoder.add(gdstk.Label('vdd', (2.68,15.12), layer=15, texttype=0))
hierarchical_decoder.add(gdstk.Label('vdd', (2.68,11.76), layer=15, texttype=0))
hierarchical_decoder.add(gdstk.Label('vdd', (7.2225,11.76), layer=15, texttype=0))
hierarchical_decoder.add(gdstk.Label('gnd', (1.1525,0), layer=15, texttype=0))
hierarchical_decoder.add(gdstk.Label('gnd', (2.68,0), layer=15, texttype=0))
hierarchical_decoder.add(gdstk.Label('gnd', (7.2225,6.72), layer=15, texttype=0))
hierarchical_decoder.add(gdstk.Label('gnd', (7.2225,20.16), layer=15, texttype=0))
hierarchical_decoder.add(gdstk.Label('gnd', (7.2225,16.8), layer=15, texttype=0))
hierarchical_decoder.add(gdstk.Label('gnd', (7.2225,0), layer=15, texttype=0))
hierarchical_decoder.add(gdstk.Label('gnd', (1.1525,3.36), layer=15, texttype=0))
hierarchical_decoder.add(gdstk.Label('gnd', (7.2225,13.44), layer=15, texttype=0))
hierarchical_decoder.add(gdstk.Label('gnd', (7.2225,10.08), layer=15, texttype=0))
hierarchical_decoder.add(gdstk.Label('gnd', (2.68,6.72), layer=15, texttype=0))
hierarchical_decoder.add(gdstk.Label('gnd', (7.2225,3.36), layer=15, texttype=0))
hierarchical_decoder.add(gdstk.Label('gnd', (1.1525,6.72), layer=15, texttype=0))
hierarchical_decoder.add(gdstk.Label('gnd', (1.1525,13.44), layer=15, texttype=0))
hierarchical_decoder.add(gdstk.Label('gnd', (2.68,13.44), layer=15, texttype=0))
hierarchical_decoder.add(gdstk.Label('gnd', (1.1525,16.8), layer=15, texttype=0))
hierarchical_decoder.add(gdstk.Label('gnd', (1.1525,10.08), layer=15, texttype=0))
hierarchical_decoder.add(gdstk.Label('gnd', (2.68,10.08), layer=15, texttype=0))
hierarchical_decoder.add(gdstk.Label('gnd', (2.68,16.8), layer=15, texttype=0))
hierarchical_decoder.add(gdstk.Label('gnd', (7.2225,23.52), layer=15, texttype=0))
hierarchical_decoder.add(gdstk.Label('gnd', (2.68,3.36), layer=15, texttype=0))
hierarchical_decoder.add(gdstk.Label('gnd', (7.2225,26.88), layer=15, texttype=0))

lib.write_gds('hierarchical_decoder.gds')
